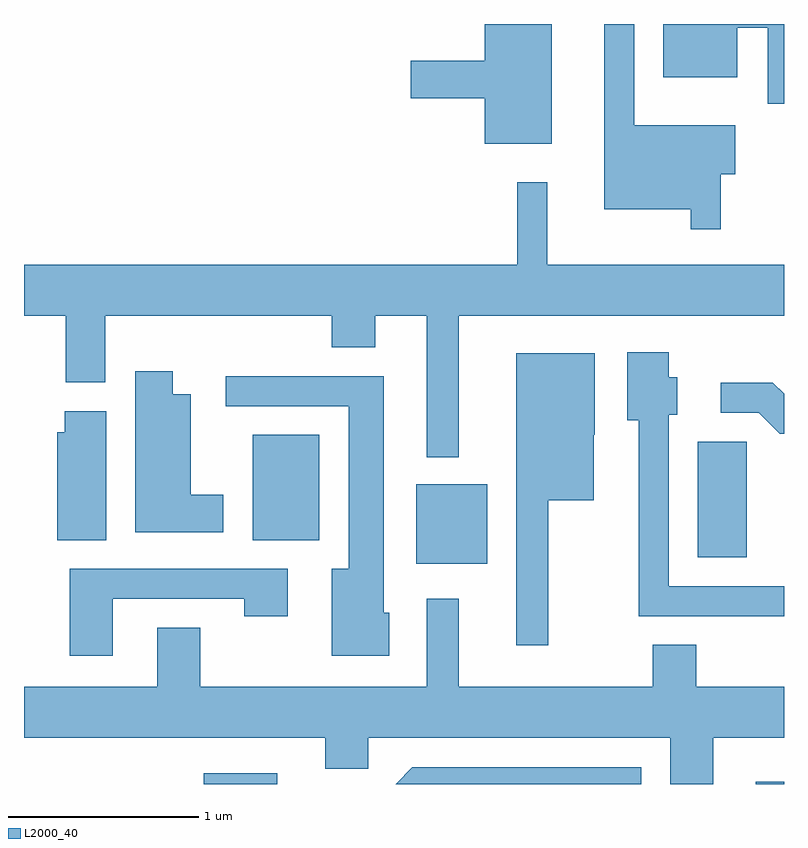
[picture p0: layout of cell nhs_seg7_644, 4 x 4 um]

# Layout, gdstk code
import gdstk
lib = gdstk.Library(unit=1e-6, precision=1e-09)
def R(c, l, rs):  # rectangles x0, y0, x1, y1
    for r in rs: c.add(gdstk.rectangle(r[:2], r[2:], *l))
def P(c, l, *ps):  # polygons
    for p in ps: c.add(gdstk.Polygon(p, *l))
L2000_40 = (2000, 40)

nhs_seg7_644 = lib.new_cell('nhs_seg7_644')
R(nhs_seg7_644, L2000_40, [(204.556,1756.252,204.943,1756.309), (207.463,1756.252,207.611,1756.264), (205.676,1757.411,206.049,1757.829), (207.156,1757.446,207.414,1758.054), (204.816,1757.536,205.164,1758.089)])
P(nhs_seg7_644, L2000_40, [(206.389,1760.252),(206.036,1760.252),(206.036,1760.059),(205.646,1760.059),(205.646,1759.861),(206.036,1759.861),(206.036,1759.621),(206.389,1759.621)],
  [(207.611,1760.252),(206.976,1760.252),(206.976,1759.971),(207.364,1759.971),(207.364,1760.231),(207.526,1760.231),(207.526,1759.831),(207.611,1759.831)],
  [(207.279,1759.461),(207.354,1759.461),(207.354,1759.719),(206.824,1759.719),(206.824,1760.252),(206.666,1760.252),(206.666,1759.276),(207.121,1759.276),(207.121,1759.173),(207.279,1759.173)],
  [(205.899,1758.716),(207.611,1758.716),(207.611,1758.984),(206.364,1758.984),(206.364,1759.418),(206.206,1759.418),(206.206,1758.984),(203.611,1758.984),(203.611,1758.716),(203.831,1758.716),(203.831,1758.366),(204.039,1758.366),(204.039,1758.716),(205.231,1758.716),(205.231,1758.551),(205.459,1758.551),(205.459,1758.716),(205.731,1758.716),(205.731,1757.973),(205.899,1757.973)],
  [(207.611,1757.294),(207.004,1757.294),(207.004,1758.196),(207.049,1758.196),(207.049,1758.394),(207.004,1758.394),(207.004,1758.524),(206.786,1758.524),(206.786,1758.166),(206.846,1758.166),(206.846,1757.136),(207.611,1757.136)],
  [(206.369,1757.746),(206.609,1757.746),(206.609,1758.09),(206.614,1758.09),(206.614,1758.519),(206.201,1758.519),(206.201,1756.983),(206.369,1756.983)],
  [(204.659,1757.774),(204.489,1757.774),(204.489,1758.304),(204.394,1758.304),(204.394,1758.424),(204.196,1758.424),(204.196,1757.576),(204.659,1757.576)],
  [(205.534,1757.154),(205.504,1757.154),(205.504,1758.399),(204.673,1758.399),(204.673,1758.241),(205.321,1758.241),(205.321,1757.384),(205.231,1757.384),(205.231,1756.926),(205.534,1756.926)],
  [(207.611,1758.305),(207.552,1758.364),(207.278,1758.364),(207.278,1758.206),(207.479,1758.206),(207.589,1758.096),(207.611,1758.096)],
  [(204.044,1758.214),(203.826,1758.214),(203.826,1758.104),(203.786,1758.104),(203.786,1757.536),(204.044,1757.536)],
  [(204.079,1757.226),(204.771,1757.226),(204.771,1757.136),(204.999,1757.136),(204.999,1757.384),(203.851,1757.384),(203.851,1756.926),(204.079,1756.926)],
  [(207.239,1756.496),(207.611,1756.496),(207.611,1756.764),(207.149,1756.764),(207.149,1756.984),(206.921,1756.984),(206.921,1756.764),(205.899,1756.764),(205.899,1757.228),(205.731,1757.228),(205.731,1756.764),(204.539,1756.764),(204.539,1757.074),(204.311,1757.074),(204.311,1756.764),(203.611,1756.764),(203.611,1756.496),(205.196,1756.496),(205.196,1756.331),(205.424,1756.331),(205.424,1756.496),(207.011,1756.496),(207.011,1756.252),(207.239,1756.252)],
  [(206.859,1756.339),(205.654,1756.339),(205.567,1756.252),(206.859,1756.252)])

lib.write_gds('nhs_seg7_644.gds')
